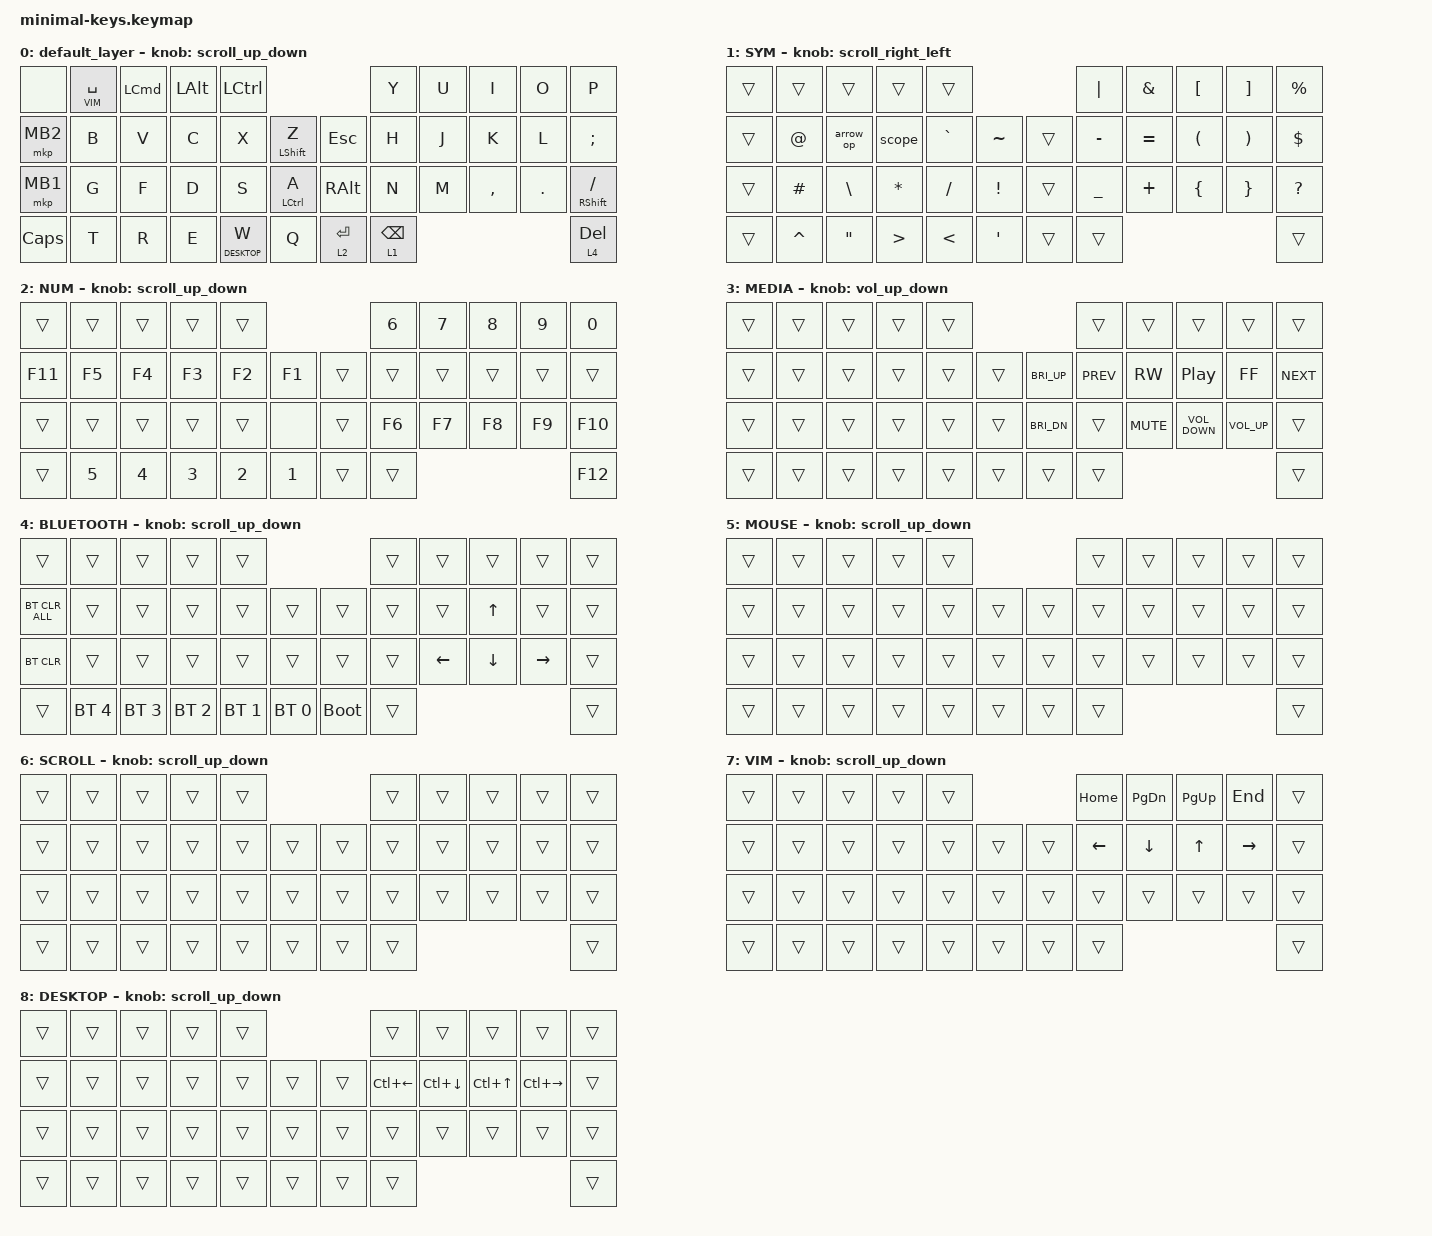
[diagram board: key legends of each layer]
#include <behaviors.dtsi>
#include <behaviors/rgbled_widget.dtsi>
#include <dt-bindings/zmk/bt.h>
#include <dt-bindings/zmk/keys.h>
#include <dt-bindings/zmk/pointing.h>

// 左半物理翻轉 180°，encoder 在右下角當捲輪
// 左半 keymap 位置 → 翻轉後視覺位置對照：
//   Row1 [0][1][2][3][4]           → 視覺 thumb row: encoder(右), SPC, CMD, OPT, CTRL(左)
//   Row2 [10][11][12][13][14][15]  → 視覺 row3: MB2(右inner), B, V, C, X, Z(左)
//   Row3 [22][23][24][25][26][27]  → 視覺 row2: MB1(右inner), G, F, D, S, A(左)
//   Row4 [34][35][36][37][38][39]  → 視覺 top:  CAPS(右inner), T, R, E, W, Q(左)

#undef ZMK_POINTING_DEFAULT_SCRL_VAL
#define ZMK_POINTING_DEFAULT_SCRL_VAL 200
#define MOUSE 5
#define SCROLL 6
#define VIM 7
#define DESKTOP 8

&mt {
    flavor = "balanced";
    quick-tap-ms = <0>;
    require-prior-idle-ms = <150>;
};

&lt {
    tapping-term-ms = <200>;
    quick-tap-ms = <200>;
    flavor = "balanced";
};

/ {
    combos {
        compatible = "zmk,combos";

        tab {
            bindings = <&kp TAB>;
            key-positions = <38 37>;  // W+E（翻轉後的位置）
            slow-release;
        };

        enter {
            bindings = <&kp ENTER>;
            key-positions = <18 19>;  // J+K
            slow-release;
        };

        input_switch {
            bindings = <&input_tap>;
            key-positions = <26 25>;  // S+D（翻轉後的位置）
            slow-release;
        };
    };

    macros {
        to_layer_0: to_layer_0 {
            compatible = "zmk,behavior-macro-one-param";
            #binding-cells = <1>;
            bindings = <&to 0 &macro_param_1to1 &kp MACRO_PLACEHOLDER>;
            label = "TO_LAYER_0";
        };

        scope: scope {  // C++ ::
            compatible = "zmk,behavior-macro";
            #binding-cells = <0>;
            bindings = <&kp LS(SEMICOLON) &kp LS(SEMICOLON)>;
            label = "SCOPE_RESOLUTION";
        };

        arrow_op: arrow_op {  // C++ ->
            compatible = "zmk,behavior-macro";
            #binding-cells = <0>;
            bindings = <&kp MINUS &kp LS(DOT)>;
            label = "ARROW_OPERATOR";
        };

        input_tap: input_tap {
            compatible = "zmk,behavior-macro";
            #binding-cells = <0>;
            bindings = <&macro_tap &kp LC(SPACE)>;
            label = "INPUT_TAP";
        };
    };

    behaviors {
        lt_to_layer_0: lt_to_layer_0 {
            compatible = "zmk,behavior-hold-tap";
            label = "LAYER_TAP_TO_0";
            bindings = <&mo>, <&to_layer_0>;

            #binding-cells = <2>;
            tapping-term-ms = <200>;
        };

        scroll_up_down: behavior_sensor_rotate_mouse_wheel_up_down {
            compatible = "zmk,behavior-sensor-rotate";
            #sensor-binding-cells = <0>;
            tap-ms = <20>;
            bindings = <&msc SCRL_UP>, <&msc SCRL_DOWN>;
        };

        scroll_right_left: mouse_wheel_right_left {
            compatible = "zmk,behavior-sensor-rotate";
            #sensor-binding-cells = <0>;
            bindings = <&msc SCRL_LEFT>, <&msc SCRL_RIGHT>;
            tap-ms = <20>;
        };

        vol_up_down: vol_up_down {
            compatible = "zmk,behavior-sensor-rotate";
            #sensor-binding-cells = <0>;
            tap-ms = <5>;
            bindings = <&kp C_VOL_DN>, <&kp C_VOL_UP>;
        };
    };

    keymap {
        compatible = "zmk,keymap";

        default_layer {  // Layer 0
            // 左半（翻轉後視覺）:              右半（不變）:
            // Q    W(DT) E    R    T    CAPS    Y    U    I    O    P
            // A(C) S     D    F    G    MB1     ESC  H    J    K    L    ;
            // Z(S) X     C    V    B    MB2     RALT N    M    ,    .    /(RS)
            // CTRL OPT   CMD  SPC(VIM)  enc     ENT(NUM) BS(SYM)        DEL(BT)
            bindings = <
&none              &lt VIM SPACE      &kp LEFT_COMMAND  &kp LEFT_ALT   &kp LCTRL                                                     &kp Y        &kp U          &kp I      &kp O    &kp P
&mkp MB2           &kp B              &kp V             &kp C          &kp X          &mt LEFT_SHIFT Z    &kp ESCAPE                  &kp H        &kp J          &kp K      &kp L    &kp SEMICOLON
&mkp MB1           &kp G              &kp F             &kp D          &kp S          &mt LCTRL A         &kp RIGHT_ALT               &kp N        &kp M          &kp COMMA  &kp DOT  &mt RIGHT_SHIFT SLASH
&kp CAPS           &kp T              &kp R             &kp E          &lt DESKTOP W  &kp Q               &lt 2 ENTER                 &lt 1 BACKSPACE                                  &lt 4 DELETE
            >;

            sensor-bindings = <&scroll_up_down>;  // Encoder: 縱向捲動
        };

        SYM {  // Layer 1 - 符號層（按住 BS 啟用）
            bindings = <
&trans  &trans           &trans            &trans              &trans                                                    &kp PIPE        &kp AMPERSAND  &kp LEFT_BRACKET      &kp RIGHT_BRACKET      &kp PERCENT
&trans  &kp AT_SIGN      &arrow_op         &scope             &kp GRAVE          &kp TILDE       &trans                 &kp MINUS       &kp EQUAL      &kp LEFT_PARENTHESIS  &kp RIGHT_PARENTHESIS  &kp DOLLAR
&trans  &kp HASH         &kp BACKSLASH     &kp ASTRK          &kp SLASH          &kp EXCLAMATION &trans                 &kp UNDERSCORE  &kp PLUS       &kp LEFT_BRACE        &kp RIGHT_BRACE        &kp QUESTION
&trans  &kp CARET        &kp DOUBLE_QUOTES &kp GREATER_THAN   &kp LESS_THAN      &kp SINGLE_QUOTE &trans                &trans                                                                      &trans
            >;

            sensor-bindings = <&scroll_right_left>;  // Encoder: 水平捲動
        };

        NUM {  // Layer 2 - 數字與 F 鍵層（按住 ENT 啟用）
            bindings = <
&trans  &trans         &trans         &trans         &trans                                              &kp NUMBER_6  &kp NUMBER_7  &kp NUMBER_8  &kp NUMBER_9  &kp N0
&kp F11 &kp F5         &kp F4         &kp F3         &kp F2         &kp F1          &trans              &trans        &trans        &trans        &trans        &trans
&trans  &trans         &trans         &trans         &trans         &none           &trans              &kp F6        &kp F7        &kp F8        &kp F9        &kp F10
&trans  &kp NUMBER_5   &kp NUMBER_4   &kp NUMBER_3   &kp NUMBER_2   &kp NUMBER_1    &trans              &trans                                                  &kp F12
            >;

            sensor-bindings = <&scroll_up_down>;
        };

        MEDIA {  // Layer 3 - 媒體控制層
            bindings = <
&trans  &trans  &trans  &trans  &trans                                         &trans      &trans      &trans             &trans           &trans
&trans  &trans  &trans  &trans  &trans  &trans    &kp C_BRI_UP                 &kp C_PREV  &kp C_RW    &kp C_PLAY_PAUSE   &kp C_FF         &kp C_NEXT
&trans  &trans  &trans  &trans  &trans  &trans    &kp C_BRI_DN                 &trans      &kp C_MUTE  &kp C_VOLUME_DOWN  &kp C_VOLUME_UP  &trans
&trans  &trans  &trans  &trans  &trans  &trans    &trans                       &trans                                                      &trans
            >;

            sensor-bindings = <&vol_up_down>;  // Encoder: 音量
        };

        BLUETOOTH {  // Layer 4 - 藍牙設定層（按住 DEL 啟用）
            bindings = <
&trans          &trans          &trans          &trans          &trans                                                          &trans        &trans        &trans        &trans         &trans
&bt BT_CLR_ALL  &trans          &trans          &trans          &trans          &trans          &trans                          &trans        &trans        &kp UP        &trans         &trans
&bt BT_CLR      &trans          &trans          &trans          &trans          &trans          &trans                          &trans        &kp LEFT      &kp DOWN      &kp RIGHT      &trans
&trans          &bt BT_SEL 4    &bt BT_SEL 3    &bt BT_SEL 2    &bt BT_SEL 1    &bt BT_SEL 0    &bootloader                     &trans                                                 &trans
            >;

            sensor-bindings = <&scroll_up_down>;
        };

        MOUSE {  // Layer 5 - 軌跡球自動切層（MB1/MB2 已在 default 層左內側）
            bindings = <
&trans  &trans  &trans  &trans  &trans                    &trans  &trans  &trans  &trans  &trans
&trans  &trans  &trans  &trans  &trans  &trans    &trans  &trans  &trans  &trans  &trans  &trans
&trans  &trans  &trans  &trans  &trans  &trans    &trans  &trans  &trans  &trans  &trans  &trans
&trans  &trans  &trans  &trans  &trans  &trans    &trans  &trans                          &trans
            >;

            sensor-bindings = <&scroll_up_down>;
        };

        SCROLL {  // Layer 6 - 軌跡球變捲輪
            bindings = <
&trans  &trans  &trans  &trans  &trans                    &trans  &trans  &trans  &trans  &trans
&trans  &trans  &trans  &trans  &trans  &trans    &trans  &trans  &trans  &trans  &trans  &trans
&trans  &trans  &trans  &trans  &trans  &trans    &trans  &trans  &trans  &trans  &trans  &trans
&trans  &trans  &trans  &trans  &trans  &trans    &trans  &trans                          &trans
            >;

            sensor-bindings = <&scroll_up_down>;
        };

        VIM {  // Layer 7 - 按住 Space，H=左 J=下 K=上 L=右
            bindings = <
&trans  &trans  &trans  &trans  &trans                    &kp HOME  &kp PAGE_DOWN  &kp PAGE_UP  &kp END    &trans
&trans  &trans  &trans  &trans  &trans  &trans    &trans  &kp LEFT  &kp DOWN       &kp UP       &kp RIGHT  &trans
&trans  &trans  &trans  &trans  &trans  &trans    &trans  &trans    &trans         &trans       &trans     &trans
&trans  &trans  &trans  &trans  &trans  &trans    &trans  &trans                                            &trans
            >;

            sensor-bindings = <&scroll_up_down>;
        };

        DESKTOP {  // Layer 8 - 按住 W，macOS 桌面切換
            bindings = <
&trans  &trans  &trans  &trans  &trans                    &trans        &trans        &trans      &trans         &trans
&trans  &trans  &trans  &trans  &trans  &trans    &trans  &kp LC(LEFT)  &kp LC(DOWN)  &kp LC(UP)  &kp LC(RIGHT)  &trans
&trans  &trans  &trans  &trans  &trans  &trans    &trans  &trans        &trans        &trans      &trans         &trans
&trans  &trans  &trans  &trans  &trans  &trans    &trans  &trans                                                 &trans
            >;

            sensor-bindings = <&scroll_up_down>;
        };
    };
};
